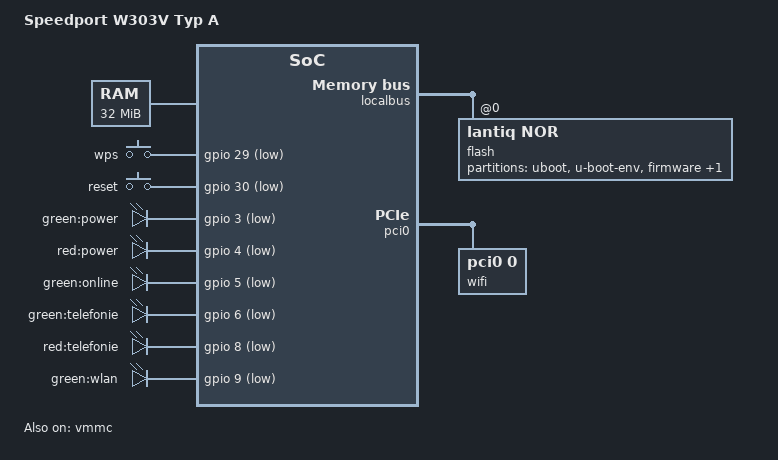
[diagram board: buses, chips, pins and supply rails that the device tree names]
#include "danube.dtsi"

#include <dt-bindings/input/input.h>

/ {
	compatible = "arcadyan,arv7525pw", "lantiq,xway", "lantiq,danube";
	model = "Speedport W303V Typ A";

	chosen {
		bootargs = "console=ttyLTQ0,115200";
	};

	aliases {
		led-boot = &power_green;
		led-failsafe = &power_red;
		led-running = &power_green;
		led-upgrade = &power_green;

		led-dsl = &power_green;
		led-internet = &online;
		led-wifi = &wifi;
	};

	memory@0 {
		device_type = "memory";
		reg = <0x0 0x2000000>;
	};

	keys {
		compatible = "gpio-keys-polled";
		poll-interval = <100>;

		wps {
			label = "wps";
			gpios = <&gpio 29 GPIO_ACTIVE_LOW>;
			linux,code = <KEY_WPS_BUTTON>;
		};
		reset {
			label = "reset";
			gpios = <&gpio 30 GPIO_ACTIVE_LOW>;
			linux,code = <KEY_RESTART>;
		};
	};

	leds {
		compatible = "gpio-leds";
		power_green: power {
			label = "green:power";
			gpios = <&gpio 3 GPIO_ACTIVE_LOW>;
			default-state = "keep";
		};
		power_red: power1 {
			label = "red:power";
			gpios = <&gpio 4 GPIO_ACTIVE_LOW>;
		};
		online: online {
			label = "green:online";
			gpios = <&gpio 5 GPIO_ACTIVE_LOW>;
		};
		voice {
			label = "green:telefonie";
			gpios = <&gpio 6 GPIO_ACTIVE_LOW>;
		};
		voice2 {
			label = "red:telefonie";
			gpios = <&gpio 8 GPIO_ACTIVE_LOW>;
		};
		wifi: wifi {
			label = "green:wlan";
			gpios = <&gpio 9 GPIO_ACTIVE_LOW>;
		};
	};
};

&gpio {
	pinctrl-names = "default";
	pinctrl-0 = <&state_default>;

	state_default: pinmux {
		exin {
			lantiq,groups = "exin1";
			lantiq,function = "exin";
		};
	};
};

&gsw {
	phy-mode = "mii";
	nvmem-cells = <&macaddr_boardconfig_16>;
	nvmem-cell-names = "mac-address";
};

&localbus {
	flash@0 {
		compatible = "lantiq,nor";
		bank-width = <2>;
		reg = <0 0x0 0x2000000>;

		partitions {
			compatible = "fixed-partitions";
			#address-cells = <1>;
			#size-cells = <1>;

			partition@0 {
				label = "uboot";
				reg = <0x00000 0x10000>;
				read-only;
			};

			partition@10000 {
				label = "u-boot-env";
				reg = <0x10000 0x10000>;
				read-only;
			};

			partition@20000 {
				label = "firmware";
				reg = <0x20000 0x3d0000>;
			};

			boardconfig: partition@3f0000 {
				label = "board_config";
				reg = <0x3f0000 0x10000>;
				read-only;
			};
		};
	};
};

&pci0 {
	status = "okay";

	pinctrl-0 = <&pci_gnt1_pins>, <&pci_req1_pins>;
	pinctrl-names = "default";

	interrupt-map = <0x7000 0 0 1 &icu0 135 1>;

	wifi@0,0 {
		compatible = "pci0,0";
		reg = <0x7000 0 0 0 0>;
		ralink,mtd-eeprom = <&boardconfig 0x410>;
	};
};

&vmmc {
	status = "okay";
	gpios = <&gpio 31 GPIO_ACTIVE_HIGH>;
};

&boardconfig {
	compatible = "nvmem-cells";
	#address-cells = <1>;
	#size-cells = <1>;

	macaddr_boardconfig_16: macaddr@16 {
		reg = <0x16 0x6>;
	};
};
